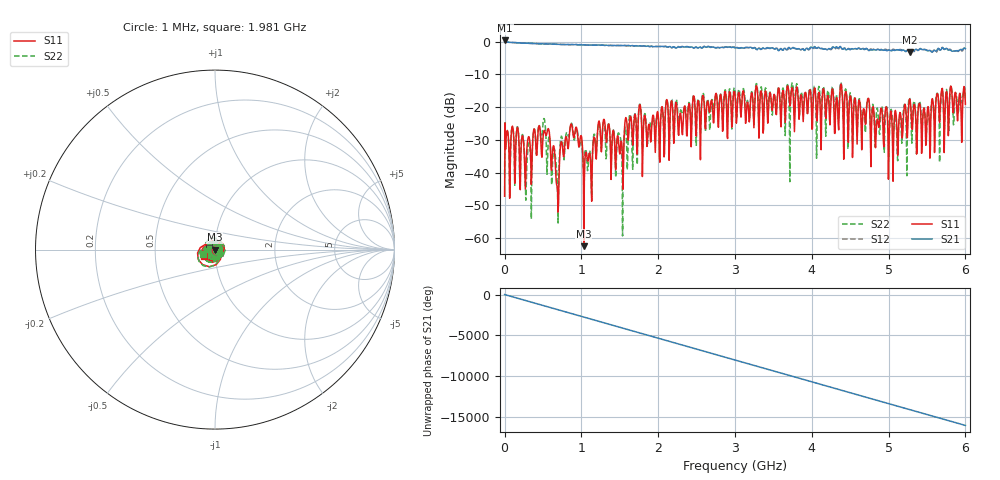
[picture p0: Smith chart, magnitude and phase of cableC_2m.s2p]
# GHZ S RI R 50.000000000000
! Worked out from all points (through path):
!   1001 points, 1 MHz to 6 GHz, reference 50 ohm
!   highest |S21| = 0.32 dB at 6.999 MHz (marker M1); lowest = -3.3 dB at 5.28 GHz (marker M2)
!   group delay of S21, straight-line fit = 7.4 ns
!   lowest |S11| = -62.5 dB at 1.033 GHz (marker M3), VSWR 1.00, Z = 49.9 + j0.0325 ohm
!   |S11| at or under -10 dB: start of sweep to end of sweep
!   |S22| runs from -59.3 to -12.4 dB; largest |S21 - S12| = 0.064
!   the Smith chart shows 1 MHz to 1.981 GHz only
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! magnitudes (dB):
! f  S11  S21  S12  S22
! 1 MHz  -47.2  0.0  -0.1  -40.7
! 6.999 MHz  -24.8  0.3  0.1  -24.8
! 31 MHz  -27.4  -0.2  -0.2  -27.4
! 283 MHz  -36.0  -0.5  -0.5  -43.1
! 492.9 MHz  -32.7  -0.7  -0.7  -26.8
! 546.9 MHz  -28.4  -0.7  -0.7  -35.0
! 684.9 MHz  -44.1  -0.9  -0.9  -42.1
! 870.9 MHz  -25.2  -0.9  -0.9  -24.9
! 1.003 GHz  -29.1  -1.0  -1.0  -30.5
! 1.033 GHz  -62.5  -1.0  -1.1  -38.5
! 1.111 GHz  -34.4  -1.1  -1.1  -33.4
! 1.309 GHz  -25.5  -1.2  -1.2  -27.9
! 1.519 GHz  -30.4  -1.2  -1.2  -31.4
! 1.603 GHz  -28.0  -1.2  -1.3  -37.3
! 2.005 GHz  -23.8  -1.5  -1.5  -25.1
! 3.001 GHz  -16.2  -2.0  -1.4  -14.9
! 4.002 GHz  -26.8  -1.9  -2.1  -22.3
! 5.004 GHz  -32.8  -2.6  -2.4  -35.1
! 5.28 GHz  -17.9  -3.3  -3.2  -18.1
! 5.514 GHz  -19.9  -2.8  -2.8  -22.1
! 5.67 GHz  -21.4  -2.7  -2.5  -24.6
! 6 GHz  -19.2  -2.2  -2.4  -17.7
